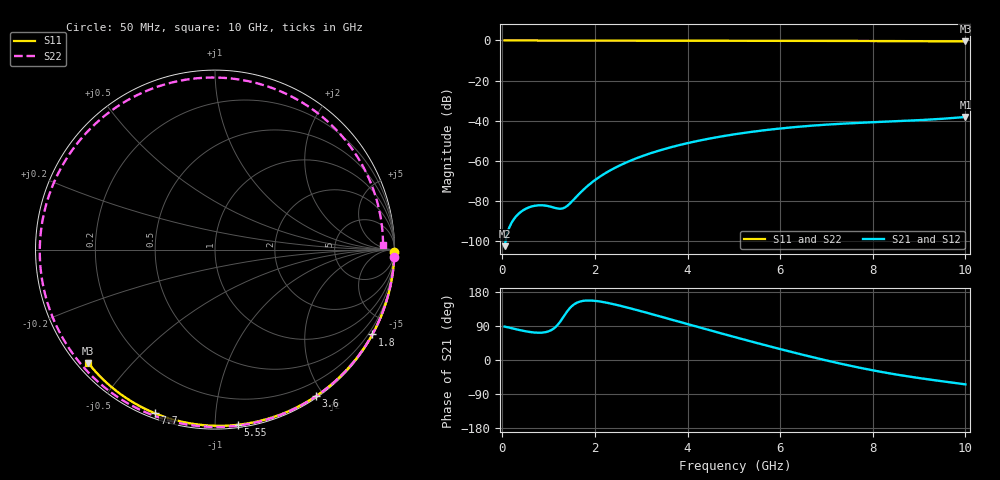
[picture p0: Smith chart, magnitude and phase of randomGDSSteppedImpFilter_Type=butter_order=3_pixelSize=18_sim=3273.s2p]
! freq	dB(S11)	phase(S11)	dB(S12)	phase(S12)
!  dB(S21)	phase(S21)	dB(S22)	phase(S22)
!S-par simulation data
#  GHz  S  DB  R 50
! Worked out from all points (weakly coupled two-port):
!   200 points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, 50 MHz to 10 GHz, reference 50 ohm
!   highest |S21| = -38.07 dB at 10 GHz (marker M1); lowest = -102.4 dB at 50 MHz (marker M2)
!   lowest |S11| = -0.5 dB at 10 GHz (marker M3), VSWR 37.08, Z = 1.54 - j19.1 ohm
!   |S11| at or under -10 dB: nowhere
!   |S22| runs from -0.6 to 0.0 dB; largest |S21 - S12| = 0
!   S11 on the Smith chart (normalised r, x): 50 MHz: open; 1.8 GHz: 0.03, -3.96; 3.6 GHz: 0.02, -1.91; 5.55 GHz: 0.02, -1.14; 7.7 GHz: 0.02, -0.70; 10 GHz: 0.03, -0.38
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0.05  -0.00 -0.8  -102.37 88.1  -102.37 88.1  -0.00 -2.3
0.35  -0.01 -5.6  -86.29 79.6  -86.29 79.6  -0.02 -16.2
0.7  -0.01 -11.1  -82.27 72.4  -82.27 72.4  -0.04 -32.2
1.1  -0.02 -17.4  -83.07 82.1  -83.07 82.1  -0.06 -49.9
1.5  -0.03 -23.7  -80.22 142.0  -80.22 142.0  -0.08 -67.0
1.75  -0.04 -27.6  -74.29 156.1  -74.29 156.1  -0.09 -77.3
1.8  -0.04 -28.3  -73.23 156.8  -73.23 156.8  -0.09 -79.3
2.1  -0.04 -33.0  -67.88 154.5  -67.88 154.5  -0.10 -91.1
2.45  -0.05 -38.3  -63.18 145.9  -63.18 145.9  -0.12 -104.4
2.9  -0.06 -45.1  -58.60 132.0  -58.60 132.0  -0.13 -120.6
3.4  -0.07 -52.5  -54.70 115.2  -54.70 115.2  -0.15 -137.7
3.6  -0.07 -55.4  -53.39 108.4  -53.39 108.4  -0.16 -144.4
4.3  -0.09 -65.4  -49.61 84.6  -49.61 84.6  -0.19 -167.0
5.05  -0.12 -75.8  -46.57 59.5  -46.57 59.5  -0.23 169.4
5.55  -0.14 -82.6  -44.99 43.1  -44.99 43.1  -0.25 153.7
6.1  -0.16 -89.9  -43.58 25.7  -43.58 25.7  -0.29 136.1
6.7  -0.19 -97.7  -42.37 7.5  -42.37 7.5  -0.32 116.4
7.2  -0.22 -104.0  -41.61 -6.8  -41.61 -6.8  -0.35 99.6
7.7  -0.25 -110.3  -41.00 -20.0  -41.00 -20.0  -0.38 82.3
8.35  -0.30 -118.3  -40.36 -35.0  -40.36 -35.0  -0.42 59.4
9.2  -0.38 -128.6  -39.41 -51.1  -39.41 -51.1  -0.48 29.2
10  -0.47 -138.2  -38.07 -64.3  -38.07 -64.3  -0.57 1.6
